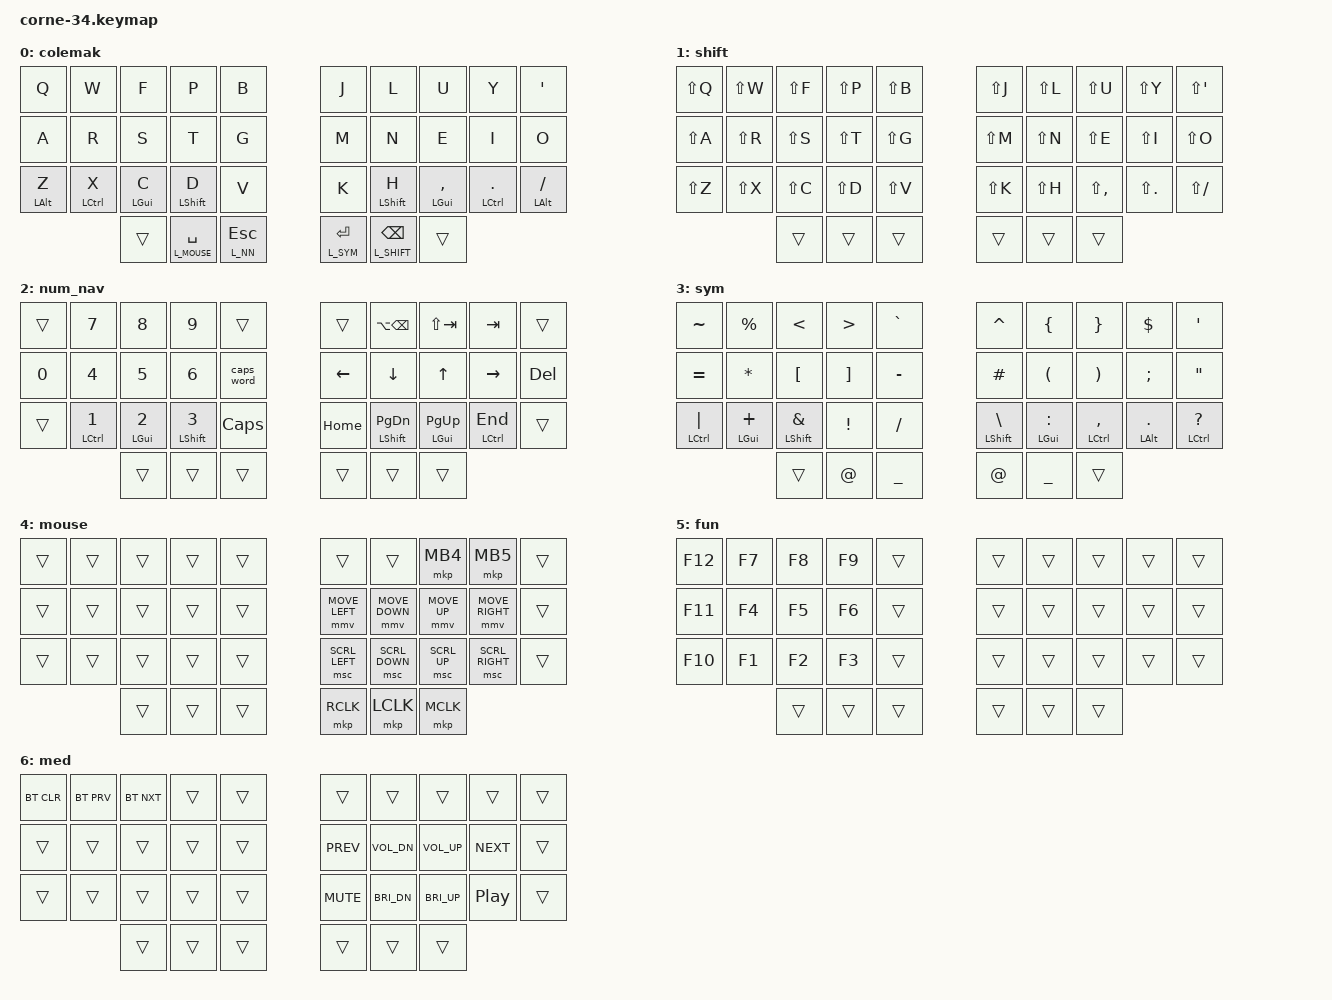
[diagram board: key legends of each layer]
#define ZMK_POINTING_DEFAULT_MOVE_VAL 1500 // 600
#define ZMK_POINTING_DEFAULT_SCRL_VAL 30 // 10

#define ___ &trans

#define L_NN 1
#define L_SHIFT 2
#define L_SYM 3
#define L_MOUSE 4
#define L_FUN 5
#define L_MED 6

#define CK_COMBO_TIMEOUT 35
#define CK_PRIOR_IDLE 125
#define CK_TAPPING_TERM 200
#define CK_QUICK_TAP 200

#define CK_LEFT_HAND_KEYS 0 1 2 3 4 10 11 12 13 14 20 21 22 23 24 30 31 32
#define CK_RIGHT_HAND_KEYS 5 6 7 8 9 15 16 17 18 19 25 26 27 28 29 33 34 35

#include <behaviors.dtsi>
#include <dt-bindings/zmk/keys.h>
#include <dt-bindings/zmk/bt.h>

#include <dt-bindings/zmk/pointing.h>
#include <input/processors.dtsi>

/ {
    chosen {
        zmk,physical-layout = &foostan_corne_5col_layout;
    };

    conditional_layers {
        compatible = "zmk,conditional-layers";
        tri_med {
            if-layers = <L_MOUSE L_SHIFT>;
            then-layer = <L_MED>;
        };
        tri_fun {
            if-layers = <L_NN L_SHIFT>;
            then-layer = <L_FUN>;
        };
    };

    behaviors {
        lm: left_mod {
            compatible = "zmk,behavior-hold-tap";
            flavor = "balanced";
            bindings = <&kp>, <&kp>;
            #binding-cells = <2>;
            tapping-term-ms = <CK_TAPPING_TERM>;
            quick-tap-ms = <CK_QUICK_TAP>;
            require-prior-idle-ms = <CK_PRIOR_IDLE>;
            hold-trigger-key-positions = <CK_RIGHT_HAND_KEYS>;
            hold-trigger-on-release;
        };

        rm: right_mod {
            compatible = "zmk,behavior-hold-tap";
            flavor = "balanced";
            bindings = <&kp>, <&kp>;
            #binding-cells = <2>;
            tapping-term-ms = <CK_TAPPING_TERM>;
            quick-tap-ms = <CK_QUICK_TAP>;
            require-prior-idle-ms = <CK_PRIOR_IDLE>;
            hold-trigger-key-positions = <CK_LEFT_HAND_KEYS>;
            hold-trigger-on-release;
        };

        tl: thumb_layer {
            compatible = "zmk,behavior-hold-tap";
            flavor = "balanced";
            bindings = <&mo>, <&kp>;
            #binding-cells = <2>;
            tapping-term-ms = <CK_TAPPING_TERM>;
            quick-tap-ms = <CK_QUICK_TAP>;
            require-prior-idle-ms = <CK_PRIOR_IDLE>;
        };

        hptl: hold_preferred_thumb_layer {
            compatible = "zmk,behavior-hold-tap";
            flavor = "hold-preferred";
            bindings = <&mo>, <&kp>;
            #binding-cells = <2>;
            tapping-term-ms = <CK_TAPPING_TERM>;
            quick-tap-ms = <CK_QUICK_TAP>;
        };

        hptm: hold_preferred_thumb_mod {
            compatible = "zmk,behavior-hold-tap";
            flavor = "hold-preferred";
            bindings = <&kp>, <&kp>;
            #binding-cells = <2>;
            tapping-term-ms = <CK_TAPPING_TERM>;
            quick-tap-ms = <CK_QUICK_TAP>;
        };
    };

    keymap {
        compatible = "zmk,keymap";

        colemak {
            bindings = <
&kp Q               &kp W               &kp F               &kp P               &kp B               &kp J               &kp L               &kp U               &kp Y               &kp SQT
&kp A               &kp R               &kp S               &kp T               &kp G               &kp M               &kp N               &kp E               &kp I               &kp O
&lm LALT Z          &lm LCTRL X         &lm LGUI C          &lm LSHIFT D        &kp V               &kp K               &rm LSHIFT H        &rm LGUI COMMA      &rm LCTRL DOT       &rm LALT FSLH
                                        ___                 &tl L_MOUSE SPACE   &hptl L_NN ESC      &hptl L_SYM RET     &hptl L_SHIFT BSPC  ___
            >;
        };

        shift {
            bindings = <
&kp LS(Q)           &kp LS(W)           &kp LS(F)           &kp LS(P)           &kp LS(B)           &kp LS(J)           &kp LS(L)           &kp LS(U)           &kp LS(Y)           &kp LS(SQT)
&kp LS(A)           &kp LS(R)           &kp LS(S)           &kp LS(T)           &kp LS(G)           &kp LS(M)           &kp LS(N)           &kp LS(E)           &kp LS(I)           &kp LS(O)
&kp LS(Z)           &kp LS(X)           &kp LS(C)           &kp LS(D)           &kp LS(V)           &kp LS(K)           &kp LS(H)           &kp LS(COMMA)       &kp LS(DOT)         &kp LS(FSLH)
                                        ___                 ___                 ___                 ___                 ___                 ___
            >;
        };

        num_nav {
            bindings = <
___                 &kp N7              &kp N8              &kp N9              ___                 ___                 &kp LA(BSPC)        &kp LS(TAB)         &kp TAB             ___
&kp N0              &kp N4              &kp N5              &kp N6              &caps_word          &kp LEFT            &kp DOWN            &kp UP              &kp RIGHT           &kp DEL
___                 &lm LCTRL N1        &lm LGUI N2         &lm LSHIFT N3       &kp CAPS            &kp HOME            &rm LSHIFT PG_DN    &rm LGUI PG_UP      &rm LCTRL END       ___
                                        ___                 ___                 ___                 ___                 ___                 ___
            >;
        };

        sym {
            bindings = <
&kp TILDE           &kp PRCNT           &kp LT              &kp GT              &kp GRAVE           &kp CARET           &kp LBRC            &kp RBRC            &kp DLLR            &kp SQT
&kp EQUAL           &kp STAR            &kp LBKT            &kp RBKT            &kp MINUS           &kp HASH            &kp LPAR            &kp RPAR            &kp SEMI            &kp DQT
&lm LCTRL PIPE      &lm LGUI PLUS       &lm LSHIFT AMPS     &kp EXCL            &kp FSLH            &rm LSHIFT BSLH     &rm LGUI COLON      &rm LCTRL COMMA     &rm LALT DOT        &rm LCTRL QMARK
                                        ___                 &kp AT              &kp UNDER           &kp AT              &kp UNDER           ___
            >;
        };

        mouse {
            bindings = <
___                 ___                 ___                 ___                 ___                 ___                 ___                 &mkp MB4            &mkp MB5            ___
___                 ___                 ___                 ___                 ___                 &mmv MOVE_LEFT      &mmv MOVE_DOWN      &mmv MOVE_UP        &mmv MOVE_RIGHT     ___
___                 ___                 ___                 ___                 ___                 &msc SCRL_LEFT      &msc SCRL_DOWN      &msc SCRL_UP        &msc SCRL_RIGHT     ___
                                        ___                 ___                 ___                 &mkp RCLK           &mkp LCLK           &mkp MCLK
            >;
        };

        fun {
            bindings = <
&kp F12             &kp F7              &kp F8              &kp F9              ___                 ___                 ___                 ___                 ___                 ___
&kp F11             &kp F4              &kp F5              &kp F6              ___                 ___                 ___                 ___                 ___                 ___
&kp F10             &kp F1              &kp F2              &kp F3              ___                 ___                 ___                 ___                 ___                 ___
                                        ___                 ___                 ___                 ___                 ___                 ___
            >;
        };

        med {
            bindings = <
&bt BT_CLR          &bt BT_PRV          &bt BT_NXT          ___                 ___                 ___                 ___                 ___                 ___                 ___
___                 ___                 ___                 ___                 ___                 &kp C_PREV          &kp C_VOL_DN        &kp C_VOL_UP        &kp C_NEXT          ___
___                 ___                 ___                 ___                 ___                 &kp C_MUTE          &kp C_BRI_DN        &kp C_BRI_UP        &kp C_PP            ___
                                        ___                 ___                 ___                 ___                 ___                 ___
            >;
        };
    };
};
